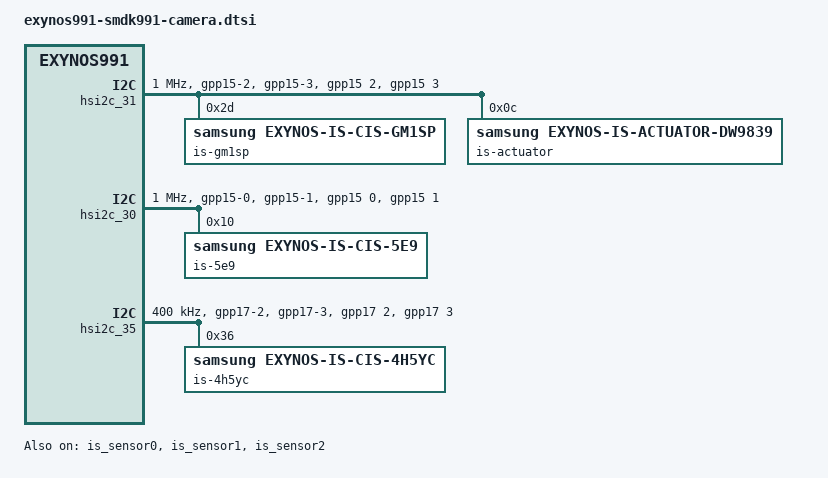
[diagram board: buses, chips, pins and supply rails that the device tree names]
/*
 * Samsung Exynos SoC series Pablo driver
 *
 * Copyright (c) 2020 Samsung Electronics Co., Ltd
 *
 * This program is free software; you can redistribute it and/or modify
 * it under the terms of the GNU General Public License version 2 as
 * published by the Free Software Foundation.
 */

#include <dt-bindings/camera/exynos_is_dt.h>
#include <dt-bindings/interrupt-controller/exynos991.h>
#include <dt-bindings/clock/exynos9840.h>
#include "camera/module_gm1sp.dtsi"
#include "camera/module_5e9.dtsi"
#include "camera/module_4h5yc.dtsi"

/ {
	fragment@camera {
		target-path = "/";
		__overlay__ {
			/* REAR CAMERA */
			is_sensor_gm1sp: is_sensor_gm1sp@43 {
				pinctrl-names = "pin0", "pin1", "pin2", "release";
				pinctrl-0 = <>;
				pinctrl-1 = <&sensor_mclk0_out>;
				pinctrl-2 = <&sensor_mclk0_fn>;
				pinctrl-3 = <>;

				position = <0>; /* Rear:0. Front:1 */
				id = <0>; /* sensor node id */
				mclk_ch = <0>;
				sensor_i2c_ch = <0>; /* I2C 0 */

				status = "okay";

				af {
					product_name = <23>; /* ACTUATOR_NAME_DW9839 */
					i2c_ch = <0>; /* SENSOR_CONTROL_I2C0 */
				};

				power_seq {
					gpio_mclk = <&gpg1 0 0x1>;

					scenario_normal_on {
						/* A start node number should be over the 10 for reserved number 0~9. */
						/* pname = "name"; pin = <act value dealy voltage>; gpio = <gpx# # 0x1>; */
						10 { pname = "MCLK"; pin = <PIN_MCLK 1 0>; };
						20 { pname = "sen_rst low"; pin = <PIN_OUTPUT 0 0>; gpio = <&gpp18 3 0x1>; };
						30 { pname = "S2MPB02_LDO14"; pin = <PIN_REGULATOR 1 0>; };
						40 { pname = "S2MPB02_LDO13"; pin = <PIN_REGULATOR 1 0>; };
						50 { pname = "S2MPB02_LDO7"; pin = <PIN_REGULATOR 1 0>; };
						60 { pname = "S2MPB02_LDO10"; pin = <PIN_REGULATOR 1 0>; };
						61 { pname = "S2MPB02_LDO16"; pin = <PIN_REGULATOR 1 0>; };
						70 { pname = "S2MPB02_BUCK2"; pin = <PIN_REGULATOR 1 0>; };
						80 { pname = "on_i2c"; pin = <PIN_I2C 1 0>; };
						90 { pname = "pin"; pin = <PIN_FUNCTION 2 0>; };
						100 { pname = "sen_rst high"; pin = <PIN_OUTPUT 1 2000>; gpio = <&gpp18 3 0x1>; };
					};

					scenario_normal_off {
						/* A start node number should be over the 10 for reserved number 0~9. */
						/* pname = "name"; pin = <act value dealy voltage>; gpio = <gpx# # 0x1>; */
						10 { pname = "sen_rst"; pin = <PIN_RESET 0 10>; gpio = <&gpp18 3 0x1>; };
						20 { pname = "sen_rst input"; pin = <PIN_INPUT 0 0>; gpio = <&gpp18 3 0x1>; };
						30 { pname = "S2MPB02_LDO14"; pin = <PIN_REGULATOR 0 0>; };
						40 { pname = "S2MPB02_LDO13"; pin = <PIN_REGULATOR 0 0>; };
						50 { pname = "S2MPB02_LDO7"; pin = <PIN_REGULATOR 0 0>; };
						60 { pname = "S2MPB02_LDO10"; pin = <PIN_REGULATOR 0 0>; };
						61 { pname = "S2MPB02_LDO16"; pin = <PIN_REGULATOR 0 0>; };
						70 { pname = "S2MPB02_BUCK2"; pin = <PIN_REGULATOR 0 0>; };
						80 { pname = "off_i2c"; pin = <PIN_I2C 0 0>; };
						90 { pname = "pin"; pin = <PIN_FUNCTION 0 0>; };
						100 { pname = "pin"; pin = <PIN_FUNCTION 1 0>; };
						110 { pname = "pin"; pin = <PIN_FUNCTION 0 0>; };
						120 { pname = "MCLK"; pin = <PIN_MCLK 0 0>; };
					};

					scenario_vision_on {
						sensor_scenario = <SENSOR_SCENARIO_VISION>;
						gpio_scenario = <GPIO_SCENARIO_ON>;

						/* A start node number should be over the 10 for reserved number 0~9. */
						/* pname = "name"; pin = <act value dealy voltage>; gpio = <gpx# # 0x1>; */
						10 { pname = "MCLK"; pin = <PIN_MCLK 1 0>; };
						20 { pname = "sen_rst low"; pin = <PIN_OUTPUT 0 0>; gpio = <&gpp18 3 0x1>; };
						30 { pname = "S2MPB02_LDO14"; pin = <PIN_REGULATOR 1 0>; };
						40 { pname = "S2MPB02_LDO13"; pin = <PIN_REGULATOR 1 0>; };
						50 { pname = "S2MPB02_LDO7"; pin = <PIN_REGULATOR 1 0>; };
						60 { pname = "S2MPB02_LDO10"; pin = <PIN_REGULATOR 1 0>; };
						61 { pname = "S2MPB02_LDO16"; pin = <PIN_REGULATOR 1 0>; };
						70 { pname = "S2MPB02_BUCK2"; pin = <PIN_REGULATOR 1 0>; };
						80 { pname = "on_i2c"; pin = <PIN_I2C 1 0>; };
						90 { pname = "pin"; pin = <PIN_FUNCTION 2 0>; };
						100 { pname = "sen_rst high"; pin = <PIN_OUTPUT 1 2000>; gpio = <&gpp18 3 0x1>; };
					};

					scenario_vision_off {
						sensor_scenario = <SENSOR_SCENARIO_VISION>;
						gpio_scenario = <GPIO_SCENARIO_OFF>;

						/* A start node number should be over the 10 for reserved number 0~9. */
						/* pname = "name"; pin = <act value dealy voltage>; gpio = <gpx# # 0x1>; */
						10 { pname = "sen_rst"; pin = <PIN_RESET 0 10>; gpio = <&gpp18 3 0x1>; };
						20 { pname = "sen_rst input"; pin = <PIN_INPUT 0 0>; gpio = <&gpp18 3 0x1>; };
						30 { pname = "S2MPB02_LDO14"; pin = <PIN_REGULATOR 0 0>; };
						40 { pname = "S2MPB02_LDO13"; pin = <PIN_REGULATOR 0 0>; };
						50 { pname = "S2MPB02_LDO7"; pin = <PIN_REGULATOR 0 0>; };
						60 { pname = "S2MPB02_LDO10"; pin = <PIN_REGULATOR 0 0>; };
						61 { pname = "S2MPB02_LDO16"; pin = <PIN_REGULATOR 0 0>; };
						70 { pname = "S2MPB02_BUCK2"; pin = <PIN_REGULATOR 0 0>; };
						80 { pname = "off_i2c"; pin = <PIN_I2C 0 0>; };
						90 { pname = "pin"; pin = <PIN_FUNCTION 0 0>; };
						100 { pname = "pin"; pin = <PIN_FUNCTION 1 0>; };
						110 { pname = "pin"; pin = <PIN_FUNCTION 0 0>; };
						120 { pname = "MCLK"; pin = <PIN_MCLK 0 0>; };
					};

				};
			};

			/* FRONT CAMERA */
			is_sensor_4h5yc: is_sensor_4h5yc@24 {
				pinctrl-names = "pin0", "pin1", "pin2", "release";
				pinctrl-0 = <>;
				pinctrl-1 = <&sensor_mclk4_out>;
				pinctrl-2 = <&sensor_mclk4_fn>;
				pinctrl-3 = <>;

				position = <1>; /* Rear:0. Front:1 */
				id = <1>; /* sensor node id */
				mclk_ch = <4>;
				sensor_i2c_ch = <1>;
				sensor_i2c_addr = <0x36>;

				status = "okay";

				power_seq {
					gpio_mclk = <&gpg2 1 0x1>;

					scenario_normal_on {
						/* A start node number should be over the 10 for reserved number 0~9. */
						/* pname = "name"; pin = <act value dealy voltage>; gpio = <gpx# # 0x1>; */
						10 { pname = "sen_rst low"; pin = <PIN_OUTPUT 0 0>; gpio = <&gpp9 0 0x1>; };
						20 { pname = "vdd_ldo18s"; pin = <PIN_REGULATOR 1 0>; };
						30 { pname = "vdd_ldo25"; pin = <PIN_REGULATOR 1 0>; };
						40 { pname = "S2MPB02_LDO4"; pin = <PIN_REGULATOR 1 0>; };
						50 { pname = "on_i2c"; pin = <PIN_I2C 1 0>; };
						60 { pname = "pin"; pin = <PIN_FUNCTION 2 0>; };
						70 { pname = "MCLK"; pin = <PIN_MCLK 1 0>; };
						80 { pname = "sen_rst high"; pin = <PIN_OUTPUT 1 0>; gpio = <&gpp9 0 0x1>; };
					};

					scenario_normal_off {
						/* A start node number should be over the 10 for reserved number 0~9. */
						/* pname = "name"; pin = <act value dealy voltage>; gpio = <gpx# # 0x1>; */
						10 { pname = "vdd_ldo18s"; pin = <PIN_REGULATOR 0 0>; };
						20 { pname = "vdd_ldo25"; pin = <PIN_REGULATOR 0 0>; };
						30 { pname = "MCLK"; pin = <PIN_MCLK 0 0>; };
						40 { pname = "pin"; pin = <PIN_FUNCTION 0 0>; };
						50 { pname = "sen_rst"; pin = <PIN_OUTPUT 0 0>; gpio = <&gpp9 0 0x1>; };
						60 { pname = "off_i2c"; pin = <PIN_I2C 0 0>; };
						70 { pname = "S2MPB02_LDO4"; pin = <PIN_REGULATOR 0 0>; };
					};

					scenario_vision_on {
						sensor_scenario = <SENSOR_SCENARIO_VISION>;
						gpio_scenario = <GPIO_SCENARIO_ON>;
						/* A start node number should be over the 10 for reserved number 0~9. */
						/* pname = "name"; pin = <act value dealy voltage>; gpio = <gpx# # 0x1>; */
						10 { pname = "sen_rst low"; pin = <PIN_OUTPUT 0 0>; gpio = <&gpp9 0 0x1>; };
						20 { pname = "vdd_ldo18s"; pin = <PIN_REGULATOR 1 0>; };
						30 { pname = "vdd_ldo25"; pin = <PIN_REGULATOR 1 0>; };
						40 { pname = "S2MPB02_LDO4"; pin = <PIN_REGULATOR 1 0>; };
						50 { pname = "on_i2c"; pin = <PIN_I2C 1 0>; };
						60 { pname = "pin"; pin = <PIN_FUNCTION 2 0>; };
						70 { pname = "MCLK"; pin = <PIN_MCLK 1 0>; };
						80 { pname = "sen_rst high"; pin = <PIN_OUTPUT 1 0>; gpio = <&gpp9 0 0x1>; };
					};

					scenario_vision_off {
						sensor_scenario = <SENSOR_SCENARIO_VISION>;
						gpio_scenario = <GPIO_SCENARIO_OFF>;
						/* A start node number should be over the 10 for reserved number 0~9. */
						/* pname = "name"; pin = <act value dealy voltage>; gpio = <gpx# # 0x1>; */
						10 { pname = "vdd_ldo18s"; pin = <PIN_REGULATOR 0 0>; };
						20 { pname = "vdd_ldo25"; pin = <PIN_REGULATOR 0 0>; };
						30 { pname = "MCLK"; pin = <PIN_MCLK 0 0>; };
						40 { pname = "pin"; pin = <PIN_FUNCTION 0 0>; };
						50 { pname = "sen_rst"; pin = <PIN_OUTPUT 0 0>; gpio = <&gpp9 0 0x1>; };
						60 { pname = "off_i2c"; pin = <PIN_I2C 0 0>; };
						70 { pname = "S2MPB02_LDO4"; pin = <PIN_REGULATOR 0 0>; };
					};

				};

			};

			/* Rear Sub CAMERA */
			is_sensor_5e9: is_sensor_5e9@41 {
				pinctrl-names = "pin0", "pin1", "pin2", "release";
				pinctrl-0 = <>;
				pinctrl-1 = <&sensor_mclk1_out>;
				pinctrl-2 = <&sensor_mclk1_fn>;
				pinctrl-3 = <>;

				/* board */
				position = <2>; /* Rear:0. Front:1, Tele:2 */
				id = <2>; /* fimc_is_sensor id */
				mclk_ch = <1>;
				sensor_i2c_ch = <2>; /* SENSOR_CONTROL_I2C2 */

				af {
					product_name = <100>; /* NOTHING */
				};

				flash {
					product_name = <100>; /* NOTHING */
				};

				preprocessor {
					product_name = <100>; /* NOTHING */
				};

				ois {
					product_name = <100>; /* NOTHING */
				};

				power_seq {
					use = <1>;
					gpio_mclk = <&gpg1 1 0x1>;

					scenario_normal_on {
						sensor_scenario = <SENSOR_SCENARIO_NORMAL>;
						gpio_scenario = <GPIO_SCENARIO_ON>;

						/* A start node number should be over the 10 for reserved number 0~9. */
						/* pname = "name"; pin = <act value dealy voltage>; gpio = <gpx# # 0x1>; */
						10 { pname = "MCLK"; pin = <PIN_MCLK 1 0>; };
						20 { pname = "sen_rst low"; pin = <PIN_OUTPUT 0 0>; gpio = <&gpp8 0 0x1>; };
						30 { pname = "vdd_ldo21s"; pin = <PIN_REGULATOR 1 0>; };
						40 { pname = "vdd_ldo29"; pin = <PIN_REGULATOR 1 0>; };
						50 { pname = "S2MPB02_LDO3"; pin = <PIN_REGULATOR 1 0>; };
						60 { pname = "pin"; pin = <PIN_FUNCTION 2 1000>; };
						70 { pname = "sen_rst high"; pin = <PIN_OUTPUT 1 1000>; gpio = <&gpp8 0 0x1>; };
						80 { pname = "on_i2c"; pin = <PIN_I2C 1 0>; };
					};

					scenario_normal_off {
						sensor_scenario = <SENSOR_SCENARIO_NORMAL>;
						gpio_scenario = <GPIO_SCENARIO_OFF>;

						/* A start node number should be over the 10 for reserved number 0~9. */
						/* pname = "name"; pin = <act value dealy voltage>; gpio = <gpx# # 0x1>; */
						10 { pname = "pin"; pin = <PIN_FUNCTION 0 0>; };
						20 { pname = "pin"; pin = <PIN_FUNCTION 1 0>; };
						30 { pname = "pin"; pin = <PIN_FUNCTION 0 0>; };
						40 { pname = "vdd_ldo21s"; pin = <PIN_REGULATOR 0 0>; };
						50 { pname = "S2MPB02_LDO3"; pin = <PIN_REGULATOR 0 0>; };
						60 { pname = "vdd_ldo29"; pin = <PIN_REGULATOR 0 0>; };
						70 { pname = "sen_rst"; pin = <PIN_OUTPUT 0 0>; gpio = <&gpp8 0 0x1>; };
						80 { pname = "MCLK"; pin = <PIN_MCLK 0 0>; };
						90 { pname = "off_i2c"; pin = <PIN_I2C 0 0>; };
					};

					scenario_vision_on {
						sensor_scenario = <SENSOR_SCENARIO_VISION>;
						gpio_scenario = <GPIO_SCENARIO_ON>;

						/* A start node number should be over the 10 for reserved number 0~9. */
						/* pname = "name"; pin = <act value dealy voltage>; gpio = <gpx# # 0x1>; */
						10 { pname = "MCLK"; pin = <PIN_MCLK 1 0>; };
						20 { pname = "sen_rst low"; pin = <PIN_OUTPUT 0 0>; gpio = <&gpp8 0 0x1>; };
						30 { pname = "vdd_ldo21s"; pin = <PIN_REGULATOR 1 0>; };
						40 { pname = "vdd_ldo29"; pin = <PIN_REGULATOR 1 0>; };
						50 { pname = "S2MPB02_LDO3"; pin = <PIN_REGULATOR 1 0>; };
						60 { pname = "pin"; pin = <PIN_FUNCTION 2 1000>; };
						70 { pname = "sen_rst high"; pin = <PIN_OUTPUT 1 1000>; gpio = <&gpp8 0 0x1>; };
						80 { pname = "on_i2c"; pin = <PIN_I2C 1 0>; };
					};

					scenario_vision_off {
						sensor_scenario = <SENSOR_SCENARIO_VISION>;
						gpio_scenario = <GPIO_SCENARIO_OFF>;

						/* A start node number should be over the 10 for reserved number 0~9. */
						/* pname = "name"; pin = <act value dealy voltage>; gpio = <gpx# # 0x1>; */
						10 { pname = "pin"; pin = <PIN_FUNCTION 0 0>; };
						20 { pname = "pin"; pin = <PIN_FUNCTION 1 0>; };
						30 { pname = "pin"; pin = <PIN_FUNCTION 0 0>; };
						40 { pname = "vdd_ldo21s"; pin = <PIN_REGULATOR 0 0>; };
						50 { pname = "S2MPB02_LDO3"; pin = <PIN_REGULATOR 0 0>; };
						60 { pname = "vdd_ldo29"; pin = <PIN_REGULATOR 0 0>; };
						70 { pname = "sen_rst"; pin = <PIN_OUTPUT 0 0>; gpio = <&gpp8 0 0x1>; };
						80 { pname = "MCLK"; pin = <PIN_MCLK 0 0>; };
						90 { pname = "off_i2c"; pin = <PIN_I2C 0 0>; };
					};
				};
			};

		}; /* end of __overlay__ */
	}; /* end of fragment */
}; /* end of root */

/***** reference symbol node *****/

&exynos_is {
	vender {
		rear_sensor_id = <43>; /* GM1SP */
		front_sensor_id = <24>; /* 4H5YC */
		rear2_sensor_id = <41>; /* 5E9 */
	};

	lic_offsets {
		/* 3AA = <setA lic offset0, setA lic offset1, lic offset2 set A trigger context */
		/* 	setB lic offset0, setB lic offset1, setB lic offset2, set B trigger context> */
		3AA = <5461 10922 16383 0 5461 10922 16383 0>;
	};

	is_dvfs {
		#define DVFS_INT_CAM_L0 690000
		#define DVFS_INT_CAM_L1 680000
		#define DVFS_INT_CAM_L2 670000
		#define DVFS_INT_CAM_L3 660000
		#define DVFS_INT_CAM_L4 650000
		#define DVFS_INT_CAM_L5 640000
		#define DVFS_INT_CAM_L6 630000
		#define DVFS_INT_CAM_L7 620000

		#define DVFS_INT_L0 800000
		#define DVFS_INT_L1 533000
		#define DVFS_INT_L2 400000
		#define DVFS_INT_L3 267000
		#define DVFS_INT_L4 80000

		#define DVFS_CSIS_L0 690000
		#define DVFS_CSIS_L1 680000
		#define DVFS_CSIS_L2 670000
		#define DVFS_CSIS_L3 660000
		#define DVFS_CSIS_L4 650000
		#define DVFS_CSIS_L5 640000

		#define DVFS_CAM_L0 690000
		#define DVFS_CAM_L1 680000
		#define DVFS_CAM_L2 670000
		#define DVFS_CAM_L3 660000
		#define DVFS_CAM_L4 650000
		#define DVFS_CAM_L5 640000

		#define DVFS_MIF_L0 3172000
		#define DVFS_MIF_L1 2730000
		#define DVFS_MIF_L2 2535000
		#define DVFS_MIF_L3 2288000
		#define DVFS_MIF_L4 2028000
		#define DVFS_MIF_L5 1716000
		#define DVFS_MIF_L6 1539000
		#define DVFS_MIF_L7 1352000
		#define DVFS_MIF_L8 1014000
		#define DVFS_MIF_L9 845000
		#define DVFS_MIF_L10 546000
		#define DVFS_MIF_L11 421000

		table0 {
			desc = "dvfs table v0.0.0 v0.54";

			default_int_cam = <DVFS_INT_CAM_L0>;
			default_cam = <DVFS_CAM_L0>;
			default_csis = <DVFS_CSIS_L0>;
			default_mif = <DVFS_MIF_L0>;
			default_int = <DVFS_INT_L0>;
			default_hpg = <1>;

			front2_preview_int_cam = <DVFS_INT_CAM_L5>;
			front2_preview_cam = <DVFS_CAM_L2>;
			front2_preview_csis = <DVFS_CSIS_L2>;
			front2_preview_mif = <DVFS_MIF_L6>;
			front2_preview_int = <DVFS_INT_L3>;
			front2_preview_hpg = <1>;

			front2_capture_int_cam = <DVFS_INT_CAM_L3>;
			front2_capture_cam = <DVFS_CAM_L2>;
			front2_capture_csis = <DVFS_CSIS_L2>;
			front2_capture_mif = <DVFS_MIF_L1>;
			front2_capture_int = <DVFS_INT_L0>;
			front2_capture_hpg = <1>;

			front2_video_int_cam = <DVFS_INT_CAM_L5>;
			front2_video_cam = <DVFS_CAM_L5>;
			front2_video_csis = <DVFS_CSIS_L5>;
			front2_video_mif = <DVFS_MIF_L6>;
			front2_video_int = <DVFS_INT_L3>;
			front2_video_hpg = <1>;

			front2_video_capture_int_cam = <DVFS_INT_CAM_L3>;
			front2_video_capture_cam = <DVFS_CAM_L2>;
			front2_video_capture_csis = <DVFS_CSIS_L2>;
			front2_video_capture_mif = <DVFS_MIF_L1>;
			front2_video_capture_int = <DVFS_INT_L0>;
			front2_video_capture_hpg = <1>;

			front_preview_int_cam = <DVFS_INT_CAM_L5>;
			front_preview_cam = <DVFS_CAM_L2>;
			front_preview_csis = <DVFS_CSIS_L2>;
			front_preview_mif = <DVFS_MIF_L6>;
			front_preview_int = <DVFS_INT_L3>;
			front_preview_hpg = <1>;

			front_preview_full_int_cam = <DVFS_INT_CAM_L5>;
			front_preview_full_cam = <DVFS_CAM_L2>;
			front_preview_full_csis = <DVFS_CSIS_L2>;
			front_preview_full_mif = <DVFS_MIF_L6>;
			front_preview_full_int = <DVFS_INT_L3>;
			front_preview_full_hpg = <1>;

			front_capture_int_cam = <DVFS_INT_CAM_L3>;
			front_capture_cam = <DVFS_CAM_L2>;
			front_capture_csis = <DVFS_CSIS_L2>;
			front_capture_mif = <DVFS_MIF_L1>;
			front_capture_int = <DVFS_INT_L0>;
			front_capture_hpg = <1>;

			front_video_int_cam = <DVFS_INT_CAM_L5>;
			front_video_cam = <DVFS_CAM_L2>;
			front_video_csis = <DVFS_CSIS_L2>;
			front_video_mif = <DVFS_MIF_L6>;
			front_video_int = <DVFS_INT_L3>;
			front_video_hpg = <1>;

			front_video_whd_int_cam = <DVFS_INT_CAM_L5>;
			front_video_whd_cam = <DVFS_CAM_L2>;
			front_video_whd_csis = <DVFS_CSIS_L2>;
			front_video_whd_mif = <DVFS_MIF_L6>;
			front_video_whd_int = <DVFS_INT_L3>;
			front_video_whd_hpg = <1>;

			front_video_uhd_int_cam = <DVFS_INT_CAM_L5>;
			front_video_uhd_cam = <DVFS_CAM_L2>;
			front_video_uhd_csis = <DVFS_CSIS_L2>;
			front_video_uhd_mif = <DVFS_MIF_L6>;
			front_video_uhd_int = <DVFS_INT_L3>;
			front_video_uhd_hpg = <1>;

			front_video_fhd_60fps_int_cam = <DVFS_INT_CAM_L5>;
			front_video_fhd_60fps_cam = <DVFS_CAM_L2>;
			front_video_fhd_60fps_csis = <DVFS_CSIS_L2>;
			front_video_fhd_60fps_mif = <DVFS_MIF_L6>;
			front_video_fhd_60fps_int = <DVFS_INT_L3>;
			front_video_fhd_60fps_hpg = <1>;

			front_video_uhd_60fps_int_cam = <DVFS_INT_CAM_L5>;
			front_video_uhd_60fps_cam = <DVFS_CAM_L2>;
			front_video_uhd_60fps_csis = <DVFS_CSIS_L2>;
			front_video_uhd_60fps_mif = <DVFS_MIF_L4>;
			front_video_uhd_60fps_int = <DVFS_INT_L3>;
			front_video_uhd_60fps_hpg = <1>;

			front_video_capture_int_cam = <DVFS_INT_CAM_L3>;
			front_video_capture_cam = <DVFS_CAM_L2>;
			front_video_capture_csis = <DVFS_CSIS_L2>;
			front_video_capture_mif = <DVFS_MIF_L1>;
			front_video_capture_int = <DVFS_INT_L0>;
			front_video_capture_hpg = <1>;

			front_video_whd_capture_int_cam = <DVFS_INT_CAM_L3>;
			front_video_whd_capture_cam = <DVFS_CAM_L2>;
			front_video_whd_capture_csis = <DVFS_CSIS_L2>;
			front_video_whd_capture_mif = <DVFS_MIF_L1>;
			front_video_whd_capture_int = <DVFS_INT_L0>;
			front_video_whd_capture_hpg = <1>;

			front_video_uhd_capture_int_cam = <DVFS_INT_CAM_L3>;
			front_video_uhd_capture_cam = <DVFS_CAM_L2>;
			front_video_uhd_capture_csis = <DVFS_CSIS_L2>;
			front_video_uhd_capture_mif = <DVFS_MIF_L1>;
			front_video_uhd_capture_int = <DVFS_INT_L0>;
			front_video_uhd_capture_hpg = <1>;

			front_video_uhd_60fps_capture_int_cam = <DVFS_INT_CAM_L3>;
			front_video_uhd_60fps_capture_cam = <DVFS_CAM_L2>;
			front_video_uhd_60fps_capture_csis = <DVFS_CSIS_L2>;
			front_video_uhd_60fps_capture_mif = <DVFS_MIF_L1>;
			front_video_uhd_60fps_capture_int = <DVFS_INT_L0>;
			front_video_uhd_60fps_capture_hpg = <1>;

			front_video_fhd_60fps_capture_int_cam = <DVFS_INT_CAM_L3>;
			front_video_fhd_60fps_capture_cam = <DVFS_CAM_L2>;
			front_video_fhd_60fps_capture_csis = <DVFS_CSIS_L2>;
			front_video_fhd_60fps_capture_mif = <DVFS_MIF_L1>;
			front_video_fhd_60fps_capture_int = <DVFS_INT_L0>;
			front_video_fhd_60fps_capture_hpg = <1>;

			front_dual_sync_preview_int_cam = <DVFS_INT_CAM_L5>;
			front_dual_sync_preview_cam = <DVFS_CAM_L2>;
			front_dual_sync_preview_csis = <DVFS_CSIS_L2>;
			front_dual_sync_preview_mif = <DVFS_MIF_L6>;
			front_dual_sync_preview_int = <DVFS_INT_L3>;
			front_dual_sync_preview_hpg = <1>;

			front_dual_sync_capture_int_cam = <DVFS_INT_CAM_L3>;
			front_dual_sync_capture_cam = <DVFS_CAM_L2>;
			front_dual_sync_capture_csis = <DVFS_CSIS_L2>;
			front_dual_sync_capture_mif = <DVFS_MIF_L1>;
			front_dual_sync_capture_int = <DVFS_INT_L0>;
			front_dual_sync_capture_hpg = <1>;

			front_dual_sync_video_fhd_int_cam = <DVFS_INT_CAM_L5>;
			front_dual_sync_video_fhd_cam = <DVFS_CAM_L2>;
			front_dual_sync_video_fhd_csis = <DVFS_CSIS_L2>;
			front_dual_sync_video_fhd_mif = <DVFS_MIF_L6>;
			front_dual_sync_video_fhd_int = <DVFS_INT_L3>;
			front_dual_sync_video_fhd_hpg = <1>;

			front_dual_sync_video_fhd_capture_int_cam = <DVFS_INT_CAM_L3>;
			front_dual_sync_video_fhd_capture_cam = <DVFS_CAM_L2>;
			front_dual_sync_video_fhd_capture_csis = <DVFS_CSIS_L2>;
			front_dual_sync_video_fhd_capture_mif = <DVFS_MIF_L1>;
			front_dual_sync_video_fhd_capture_int = <DVFS_INT_L0>;
			front_dual_sync_video_fhd_capture_hpg = <1>;

			front_vt1_int_cam = <DVFS_INT_CAM_L5>;
			front_vt1_cam = <DVFS_CAM_L2>;
			front_vt1_csis = <DVFS_CSIS_L2>;
			front_vt1_mif = <DVFS_MIF_L6>;
			front_vt1_int = <DVFS_INT_L3>;
			front_vt1_hpg = <1>;

			front_vt2_int_cam = <DVFS_INT_CAM_L5>;
			front_vt2_cam = <DVFS_CAM_L2>;
			front_vt2_csis = <DVFS_CSIS_L2>;
			front_vt2_mif = <DVFS_MIF_L6>;
			front_vt2_int = <DVFS_INT_L3>;
			front_vt2_hpg = <1>;

			front_vt4_int_cam = <DVFS_INT_CAM_L5>;
			front_vt4_cam = <DVFS_CAM_L2>;
			front_vt4_csis = <DVFS_CSIS_L2>;
			front_vt4_mif = <DVFS_MIF_L6>;
			front_vt4_int = <DVFS_INT_L3>;
			front_vt4_hpg = <1>;

			front_preview_high_speed_fps_int_cam = <DVFS_INT_CAM_L5>;
			front_preview_high_speed_fps_cam = <DVFS_CAM_L2>;
			front_preview_high_speed_fps_csis = <DVFS_CSIS_L2>;
			front_preview_high_speed_fps_mif = <DVFS_MIF_L4>;
			front_preview_high_speed_fps_int = <DVFS_INT_L3>;
			front_preview_high_speed_fps_hpg = <1>;

			rear3_preview_fhd_int_cam = <DVFS_INT_CAM_L5>;
			rear3_preview_fhd_cam = <DVFS_CAM_L3>;	/* OTF */
			rear3_preview_fhd_csis = <DVFS_CSIS_L3>;	/* OTF */
			rear3_preview_fhd_mif = <DVFS_MIF_L6>;
			rear3_preview_fhd_int = <DVFS_INT_L3>;
			rear3_preview_fhd_hpg = <1>;

			rear3_capture_int_cam = <DVFS_INT_CAM_L3>;
			rear3_capture_cam = <DVFS_CAM_L3>;		/* OTF */
			rear3_capture_csis = <DVFS_CSIS_L3>;		/* OTF */
			rear3_capture_mif = <DVFS_MIF_L1>;
			rear3_capture_int = <DVFS_INT_L3>;
			rear3_capture_hpg = <1>;

			rear3_video_fhd_int_cam = <DVFS_INT_CAM_L5>;
			rear3_video_fhd_cam = <DVFS_CAM_L4>;	/* OTF */
			rear3_video_fhd_csis = <DVFS_CSIS_L4>;	/* OTF */
			rear3_video_fhd_mif = <DVFS_MIF_L6>;
			rear3_video_fhd_int = <DVFS_INT_L3>;
			rear3_video_fhd_hpg = <1>;

			rear3_video_fhd_capture_int_cam = <DVFS_INT_CAM_L3>;
			rear3_video_fhd_capture_cam = <DVFS_CAM_L3>;	/* OTF */
			rear3_video_fhd_capture_mif = <DVFS_MIF_L1>;
			rear3_video_fhd_capture_int = <DVFS_INT_L3>;
			rear3_video_fhd_capture_hpg = <1>;

			rear2_preview_fhd_int_cam = <DVFS_INT_CAM_L3>;
			rear2_preview_fhd_cam = <DVFS_CAM_L3>;	/* VOTF */
			rear2_preview_fhd_csis = <DVFS_CSIS_L3>;	/* VOTF */
			rear2_preview_fhd_mif = <DVFS_MIF_L6>;
			rear2_preview_fhd_int = <DVFS_INT_L3>;
			rear2_preview_fhd_hpg = <1>;

			rear2_capture_int_cam = <DVFS_INT_CAM_L3>;
			rear2_capture_cam = <DVFS_CAM_L3>;	/* VOTF */
			rear2_capture_csis = <DVFS_CSIS_L3>;	/* VOTF */
			rear2_capture_mif = <DVFS_MIF_L1>;
			rear2_capture_int = <DVFS_INT_L0>;
			rear2_capture_hpg = <1>;

			rear2_video_fhd_int_cam = <DVFS_INT_CAM_L5>;
			rear2_video_fhd_cam = <DVFS_CAM_L5>;	/* VOTF */
			rear2_video_fhd_csis = <DVFS_CSIS_L5>;	/* VOTF */
			rear2_video_fhd_mif = <DVFS_MIF_L6>;
			rear2_video_fhd_int = <DVFS_INT_L3>;
			rear2_video_fhd_hpg = <1>;

			rear2_video_uhd_8k_int_cam = <DVFS_INT_CAM_L4>;
			rear2_video_uhd_8k_cam = <DVFS_CAM_L1>;	/* OTF */
			rear2_video_uhd_8k_csis = <DVFS_CSIS_L1>;	/* OTF */
			rear2_video_uhd_8k_mif = <DVFS_MIF_L1>;
			rear2_video_uhd_8k_int = <DVFS_INT_L1>;
			rear2_video_uhd_8k_hpg = <1>;

			rear2_video_fhd_capture_int_cam = <DVFS_INT_CAM_L3>;
			rear2_video_fhd_capture_cam = <DVFS_CAM_L3>;	/* VOTF */
			rear2_video_fhd_capture_csis = <DVFS_CSIS_L3>;	/* VOTF */
			rear2_video_fhd_capture_mif = <DVFS_MIF_L1>;
			rear2_video_fhd_capture_int = <DVFS_INT_L0>;
			rear2_video_fhd_capture_hpg = <1>;

			rear2_video_uhd_8k_capture_int_cam = <DVFS_INT_CAM_L3>;
			rear2_video_uhd_8k_capture_cam = <DVFS_CAM_L1>;	/* OTF */
			rear2_video_uhd_8k_capture_csis = <DVFS_CSIS_L1>;	/* OTF */
			rear2_video_uhd_8k_capture_mif = <DVFS_MIF_L1>;
			rear2_video_uhd_8k_capture_int = <DVFS_INT_L0>;
			rear2_video_uhd_8k_capture_hpg = <1>;

			rear_preview_fhd_int_cam = <DVFS_INT_CAM_L5>;
			rear_preview_fhd_cam = <DVFS_CAM_L2>;	/* VOTF */
			rear_preview_fhd_csis = <DVFS_CSIS_L2>;	/* VOTF */
			rear_preview_fhd_mif = <DVFS_MIF_L6>;
			rear_preview_fhd_int = <DVFS_INT_L3>;
			rear_preview_fhd_hpg = <1>;

			rear_preview_whd_int_cam = <DVFS_INT_CAM_L5>;
			rear_preview_whd_cam = <DVFS_CAM_L2>;	/* VOTF */
			rear_preview_whd_csis = <DVFS_CSIS_L2>;	/* VOTF */
			rear_preview_whd_mif = <DVFS_MIF_L6>;
			rear_preview_whd_int = <DVFS_INT_L3>;
			rear_preview_whd_hpg = <1>;

			rear_preview_uhd_int_cam = <DVFS_INT_CAM_L5>;
			rear_preview_uhd_cam = <DVFS_CAM_L2>;	/* VOTF */
			rear_preview_uhd_csis = <DVFS_CSIS_L2>;	/* VOTF */
			rear_preview_uhd_mif = <DVFS_MIF_L6>;
			rear_preview_uhd_int = <DVFS_INT_L3>;
			rear_preview_uhd_hpg = <1>;

			rear_preview_uhd_60fps_int_cam = <DVFS_INT_CAM_L5>;
			rear_preview_uhd_60fps_cam = <DVFS_CAM_L2>;	/* VOTF */
			rear_preview_uhd_60fps_csis = <DVFS_CSIS_L2>;	/* VOTF */
			rear_preview_uhd_60fps_mif = <DVFS_MIF_L6>;
			rear_preview_uhd_60fps_int = <DVFS_INT_L3>;
			rear_preview_uhd_60fps_hpg = <1>;

			rear_preview_full_int_cam = <DVFS_INT_CAM_L5>;
			rear_preview_full_cam = <DVFS_CAM_L2>;	/* VOTF */
			rear_preview_full_csis = <DVFS_CSIS_L2>;	/* VOTF */
			rear_preview_full_mif = <DVFS_MIF_L6>;
			rear_preview_full_int = <DVFS_INT_L3>;
			rear_preview_full_hpg = <1>;

			rear_capture_int_cam = <DVFS_INT_CAM_L3>;
			rear_capture_cam = <DVFS_CAM_L2>;	/* VOTF */
			rear_capture_csis = <DVFS_CSIS_L2>;	/* VOTF */
			rear_capture_mif = <DVFS_MIF_L1>;
			rear_capture_int = <DVFS_INT_L0>;
			rear_capture_hpg = <1>;

			rear_video_fhd_int_cam = <DVFS_INT_CAM_L5>;
			rear_video_fhd_cam = <DVFS_CAM_L2>;	/* VOTF */
			rear_video_fhd_csis = <DVFS_CSIS_L2>;	/* VOTF */
			rear_video_fhd_mif = <DVFS_MIF_L8>;
			rear_video_fhd_int = <DVFS_INT_L3>;
			rear_video_fhd_hpg = <1>;

			rear_video_hdr_int_cam = <DVFS_INT_CAM_L5>;
			rear_video_hdr_cam = <DVFS_CAM_L2>;	/* VOTF */
			rear_video_hdr_csis = <DVFS_CSIS_L2>;	/* VOTF */
			rear_video_hdr_mif = <DVFS_MIF_L6>;
			rear_video_hdr_int = <DVFS_INT_L3>;
			rear_video_hdr_hpg = <1>;

			rear_video_whd_int_cam = <DVFS_INT_CAM_L5>;
			rear_video_whd_cam = <DVFS_CAM_L2>;	/* VOTF */
			rear_video_whd_csis = <DVFS_CSIS_L2>;	/* VOTF */
			rear_video_whd_mif = <DVFS_MIF_L6>;
			rear_video_whd_int = <DVFS_INT_L3>;
			rear_video_whd_hpg = <1>;

			rear_video_uhd_int_cam = <DVFS_INT_CAM_L5>;
			rear_video_uhd_cam = <DVFS_CAM_L2>;	/* VOTF */
			rear_video_uhd_csis = <DVFS_CSIS_L2>;	/* VOTF */
			rear_video_uhd_mif = <DVFS_MIF_L6>;
			rear_video_uhd_int = <DVFS_INT_L3>;
			rear_video_uhd_hpg = <1>;

			rear_video_uhd_60fps_int_cam = <DVFS_INT_CAM_L5>;
			rear_video_uhd_60fps_cam = <DVFS_CAM_L2>;	/* VOTF */
			rear_video_uhd_60fps_csis = <DVFS_CSIS_L2>;	/* VOTF */
			rear_video_uhd_60fps_mif = <DVFS_MIF_L4>;
			rear_video_uhd_60fps_int = <DVFS_INT_L3>;
			rear_video_uhd_60fps_hpg = <1>;

			rear_video_uhd_8k_int_cam = <DVFS_INT_CAM_L4>;
			rear_video_uhd_8k_cam = <DVFS_CAM_L1>;	/* OTF */
			rear_video_uhd_8k_csis = <DVFS_CSIS_L1>;	/* OTF */
			rear_video_uhd_8k_mif = <DVFS_MIF_L1>;
			rear_video_uhd_8k_int = <DVFS_INT_L1>;
			rear_video_uhd_8k_hpg = <1>;

			rear_video_fhd_capture_int_cam = <DVFS_INT_CAM_L3>;
			rear_video_fhd_capture_cam = <DVFS_CAM_L2>;	/* VOTF */
			rear_video_fhd_capture_csis = <DVFS_CSIS_L2>;	/* VOTF */
			rear_video_fhd_capture_mif = <DVFS_MIF_L1>;
			rear_video_fhd_capture_int = <DVFS_INT_L0>;
			rear_video_fhd_capture_hpg = <1>;

			rear_video_hdr_capture_int_cam = <DVFS_INT_CAM_L3>;
			rear_video_hdr_capture_cam = <DVFS_CAM_L2>;	/* VOTF */
			rear_video_hdr_capture_csis = <DVFS_CSIS_L2>;	/* VOTF */
			rear_video_hdr_capture_mif = <DVFS_MIF_L1>;
			rear_video_hdr_capture_int = <DVFS_INT_L0>;
			rear_video_hdr_capture_hpg = <1>;

			rear_video_whd_capture_int_cam = <DVFS_INT_CAM_L3>;
			rear_video_whd_capture_cam = <DVFS_CAM_L2>;	/* VOTF */
			rear_video_whd_capture_csis = <DVFS_CSIS_L2>;	/* VOTF */
			rear_video_whd_capture_mif = <DVFS_MIF_L1>;
			rear_video_whd_capture_int = <DVFS_INT_L0>;
			rear_video_whd_capture_hpg = <1>;

			rear_video_uhd_capture_int_cam = <DVFS_INT_CAM_L3>;
			rear_video_uhd_capture_cam = <DVFS_CAM_L2>;	/* VOTF */
			rear_video_uhd_capture_csis = <DVFS_CSIS_L2>;	/* VOTF */
			rear_video_uhd_capture_mif = <DVFS_MIF_L1>;
			rear_video_uhd_capture_int = <DVFS_INT_L0>;
			rear_video_uhd_capture_hpg = <1>;

			rear_video_uhd_8k_capture_int_cam = <DVFS_INT_CAM_L3>;
			rear_video_uhd_8k_capture_cam = <DVFS_CAM_L2>;	/* VOTF */
			rear_video_uhd_8k_capture_csis = <DVFS_CSIS_L2>;	/* VOTF */
			rear_video_uhd_8k_capture_mif = <DVFS_MIF_L1>;
			rear_video_uhd_8k_capture_int = <DVFS_INT_L0>;
			rear_video_uhd_8k_capture_hpg = <1>;

			dual_preview_int_cam = <DVFS_INT_CAM_L3>;
			dual_preview_cam = <DVFS_CAM_L2>;	/* VOTF */
			dual_preview_csis = <DVFS_CSIS_L2>;	/* VOTF */
			dual_preview_mif = <DVFS_MIF_L1>;
			dual_preview_int = <DVFS_INT_L3>;
			dual_preview_hpg = <1>;

			dual_capture_int_cam = <DVFS_INT_CAM_L3>;
			dual_capture_cam = <DVFS_CAM_L2>;	/* VOTF */
			dual_capture_csis = <DVFS_CSIS_L2>;	/* VOTF */
			dual_capture_mif = <DVFS_MIF_L1>;
			dual_capture_int = <DVFS_INT_L0>;
			dual_capture_hpg = <1>;

			dual_video_fhd_int_cam = <DVFS_INT_CAM_L4>;
			dual_video_fhd_cam = <DVFS_CAM_L2>;	/* VOTF */
			dual_video_fhd_csis = <DVFS_CSIS_L2>;	/* VOTF */
			dual_video_fhd_mif = <DVFS_MIF_L6>;
			dual_video_fhd_int = <DVFS_INT_L3>;
			dual_video_fhd_hpg = <1>;

			dual_video_fhd_capture_int_cam = <DVFS_INT_CAM_L3>;
			dual_video_fhd_capture_cam = <DVFS_CAM_L2>;	/* VOTF */
			dual_video_fhd_capture_csis = <DVFS_CSIS_L2>;	/* VOTF */
			dual_video_fhd_capture_mif = <DVFS_MIF_L1>;
			dual_video_fhd_capture_int = <DVFS_INT_L0>;
			dual_video_fhd_capture_hpg = <1>;

			dual_video_uhd_int_cam = <DVFS_INT_CAM_L4>;
			dual_video_uhd_cam = <DVFS_CAM_L2>;	/* VOTF */
			dual_video_uhd_csis = <DVFS_CSIS_L2>;	/* VOTF */
			dual_video_uhd_mif = <DVFS_MIF_L6>;
			dual_video_uhd_int = <DVFS_INT_L3>;
			dual_video_uhd_hpg = <1>;

			dual_video_uhd_capture_int_cam = <DVFS_INT_CAM_L3>;
			dual_video_uhd_capture_cam = <DVFS_CAM_L2>;	/* VOTF */
			dual_video_uhd_capture_csis = <DVFS_CSIS_L2>;	/* VOTF */
			dual_video_uhd_capture_mif = <DVFS_MIF_L1>;
			dual_video_uhd_capture_int = <DVFS_INT_L0>;
			dual_video_uhd_capture_hpg = <1>;

			dual_sync_preview_int_cam = <DVFS_INT_CAM_L3>;
			dual_sync_preview_cam = <DVFS_CAM_L2>;	/* VOTF */
			dual_sync_preview_csis = <DVFS_CSIS_L2>;	/* VOTF */
			dual_sync_preview_mif = <DVFS_MIF_L1>;
			dual_sync_preview_int = <DVFS_INT_L3>;
			dual_sync_preview_hpg = <1>;

			dual_sync_capture_int_cam = <DVFS_INT_CAM_L3>;
			dual_sync_capture_cam = <DVFS_CAM_L2>;	/* VOTF */
			dual_sync_capture_csis = <DVFS_CSIS_L2>;	/* VOTF */
			dual_sync_capture_mif = <DVFS_MIF_L1>;
			dual_sync_capture_int = <DVFS_INT_L0>;
			dual_sync_capture_hpg = <1>;

			dual_sync_preview_whd_int_cam = <DVFS_INT_CAM_L3>;
			dual_sync_preview_whd_cam = <DVFS_CAM_L2>;	/* VOTF */
			dual_sync_preview_whd_csis = <DVFS_CSIS_L2>;	/* VOTF */
			dual_sync_preview_whd_mif = <DVFS_MIF_L1>;
			dual_sync_preview_whd_int = <DVFS_INT_L3>;
			dual_sync_preview_whd_hpg = <1>;

			dual_sync_whd_capture_int_cam = <DVFS_INT_CAM_L3>;
			dual_sync_whd_capture_cam = <DVFS_CAM_L2>;	/* VOTF */
			dual_sync_whd_capture_csis = <DVFS_CSIS_L2>;	/* VOTF */
			dual_sync_whd_capture_mif = <DVFS_MIF_L1>;
			dual_sync_whd_capture_int = <DVFS_INT_L0>;
			dual_sync_whd_capture_hpg = <1>;

			dual_sync_video_fhd_int_cam = <DVFS_INT_CAM_L4>;
			dual_sync_video_fhd_cam = <DVFS_CAM_L2>;	/* VOTF */
			dual_sync_video_fhd_csis = <DVFS_CSIS_L2>;	/* VOTF */
			dual_sync_video_fhd_mif = <DVFS_MIF_L6>;
			dual_sync_video_fhd_int = <DVFS_INT_L3>;
			dual_sync_video_fhd_hpg = <1>;

			dual_sync_video_fhd_capture_int_cam = <DVFS_INT_CAM_L3>;
			dual_sync_video_fhd_capture_cam = <DVFS_CAM_L2>;	/* VOTF */
			dual_sync_video_fhd_capture_csis = <DVFS_CSIS_L2>;	/* VOTF */
			dual_sync_video_fhd_capture_mif = <DVFS_MIF_L1>;
			dual_sync_video_fhd_capture_int = <DVFS_INT_L0>;
			dual_sync_video_fhd_capture_hpg = <1>;

			dual_sync_video_uhd_int_cam = <DVFS_INT_CAM_L4>;
			dual_sync_video_uhd_cam = <DVFS_CAM_L2>;	/* VOTF */
			dual_sync_video_uhd_csis = <DVFS_CSIS_L2>;	/* VOTF */
			dual_sync_video_uhd_mif = <DVFS_MIF_L6>;
			dual_sync_video_uhd_int = <DVFS_INT_L3>;
			dual_sync_video_uhd_hpg = <1>;

			dual_sync_video_uhd_capture_int_cam = <DVFS_INT_CAM_L3>;
			dual_sync_video_uhd_capture_cam = <DVFS_CAM_L2>;	/* VOTF */
			dual_sync_video_uhd_capture_csis = <DVFS_CSIS_L2>;	/* OTF */
			dual_sync_video_uhd_capture_mif = <DVFS_MIF_L1>;
			dual_sync_video_uhd_capture_int = <DVFS_INT_L0>;
			dual_sync_video_uhd_capture_hpg = <1>;

			secure_front_int_cam = <DVFS_INT_CAM_L5>;
			secure_front_cam = <DVFS_CAM_L5>;
			secure_front_csis = <DVFS_CSIS_L5>;
			secure_front_mif = <DVFS_MIF_L6>;
			secure_front_int = <DVFS_INT_L3>;
			secure_front_hpg = <1>;

			pip_preview_int_cam = <DVFS_INT_CAM_L3>;
			pip_preview_cam = <DVFS_CAM_L2>;
			pip_preview_csis = <DVFS_CSIS_L2>;
			pip_preview_mif = <DVFS_MIF_L1>;
			pip_preview_int = <DVFS_INT_L3>;
			pip_preview_hpg = <1>;

			pip_capture_int_cam = <DVFS_INT_CAM_L3>;
			pip_capture_cam = <DVFS_CAM_L2>;
			pip_capture_csis = <DVFS_CSIS_L2>;
			pip_capture_mif = <DVFS_MIF_L1>;
			pip_capture_int = <DVFS_INT_L0>;
			pip_capture_hpg = <1>;

			pip_video_int_cam = <DVFS_INT_CAM_L3>;
			pip_video_cam = <DVFS_CAM_L2>;
			pip_video_csis = <DVFS_CSIS_L2>;
			pip_video_mif = <DVFS_MIF_L1>;
			pip_video_int = <DVFS_INT_L3>;
			pip_video_hpg = <1>;

			pip_video_capture_int_cam = <DVFS_INT_CAM_L3>;
			pip_video_capture_cam = <DVFS_CAM_L2>;
			pip_video_capture_csis = <DVFS_CSIS_L2>;
			pip_video_capture_mif = <DVFS_MIF_L1>;
			pip_video_capture_int = <DVFS_INT_L0>;
			pip_video_capture_hpg = <1>;

			preview_high_speed_fps_int_cam = <DVFS_INT_CAM_L4>;
			preview_high_speed_fps_cam = <DVFS_CAM_L2>;		/* VOTF */
			preview_high_speed_fps_csis = <DVFS_CSIS_L2>;	/* VOTF */
			preview_high_speed_fps_mif = <DVFS_MIF_L4>;
			preview_high_speed_fps_int = <DVFS_INT_L3>;
			preview_high_speed_fps_hpg = <1>;

			video_high_speed_60fps_int_cam = <DVFS_INT_CAM_L5>;
			video_high_speed_60fps_cam = <DVFS_CAM_L2>;		/* VOTF */
			video_high_speed_60fps_csis = <DVFS_CSIS_L2>;	/* VOTF */
			video_high_speed_60fps_mif = <DVFS_MIF_L6>;
			video_high_speed_60fps_int = <DVFS_INT_L3>;
			video_high_speed_60fps_hpg = <1>;

			video_high_speed_120fps_int_cam = <DVFS_INT_CAM_L5>;
			video_high_speed_120fps_cam = <DVFS_CAM_L2>;	/* VOTF */
			video_high_speed_120fps_csis = <DVFS_CSIS_L2>;	/* VOTF */
			video_high_speed_120fps_mif = <DVFS_MIF_L4>;
			video_high_speed_120fps_int = <DVFS_INT_L3>;
			video_high_speed_120fps_hpg = <1>;

			video_high_speed_240fps_int_cam = <DVFS_INT_CAM_L4>;
			video_high_speed_240fps_cam = <DVFS_CAM_L2>;	/* VOTF */
			video_high_speed_240fps_csis = <DVFS_CSIS_L2>;	/* VOTF */
			video_high_speed_240fps_mif = <DVFS_MIF_L4>;
			video_high_speed_240fps_int = <DVFS_INT_L2>;
			video_high_speed_240fps_hpg = <1>;

			video_high_speed_480fps_int_cam = <DVFS_INT_CAM_L4>;
			video_high_speed_480fps_cam = <DVFS_CAM_L2>;	/* VOTF */
			video_high_speed_480fps_csis = <DVFS_CSIS_L2>;	/* VOTF */
			video_high_speed_480fps_mif = <DVFS_MIF_L4>;
			video_high_speed_480fps_int = <DVFS_INT_L1>;
			video_high_speed_480fps_hpg = <1>;

			video_high_speed_960fps_int_cam = <DVFS_INT_CAM_L4>;
			video_high_speed_960fps_cam = <DVFS_CAM_L2>;	/* VOTF */
			video_high_speed_960fps_csis = <DVFS_CSIS_L2>;	/* VOTF */
			video_high_speed_960fps_mif = <DVFS_MIF_L4>;
			video_high_speed_960fps_int = <DVFS_INT_L1>;
			video_high_speed_960fps_hpg = <1>;

			video_high_speed_dualfps_int_cam = <DVFS_INT_CAM_L4>;
			video_high_speed_dualfps_cam = <DVFS_CAM_L2>;	/* VOTF */
			video_high_speed_dualfps_csis = <DVFS_CSIS_L2>;	/* VOTF */
			video_high_speed_dualfps_mif = <DVFS_MIF_L4>;
			video_high_speed_dualfps_int = <DVFS_INT_L1>;
			video_high_speed_dualfps_hpg = <6>;

			video_high_speed_60fps_capture_int_cam = <DVFS_INT_CAM_L3>;
			video_high_speed_60fps_capture_cam = <DVFS_CAM_L2>;	/* VOTF */
			video_high_speed_60fps_capture_csis = <DVFS_CSIS_L2>;	/* VOTF */
			video_high_speed_60fps_capture_mif = <DVFS_MIF_L1>;
			video_high_speed_60fps_capture_int = <DVFS_INT_L0>;
			video_high_speed_60fps_capture_hpg = <1>;

			ext_rear_int_cam = <DVFS_INT_CAM_L5>;
			ext_rear_cam = <DVFS_CAM_L5>;
			ext_rear_csis = <DVFS_CSIS_L5>;
			ext_rear_mif = <DVFS_MIF_L8>;
			ext_rear_int = <DVFS_INT_L3>;
			ext_rear_hpg = <1>;

			ext_secure_int_cam = <DVFS_INT_CAM_L5>;
			ext_secure_cam = <DVFS_CAM_L5>;
			ext_secure_csis = <DVFS_CSIS_L5>;
			ext_secure_mif = <DVFS_MIF_L8>;
			ext_secure_int = <DVFS_INT_L3>;
			ext_secure_hpg = <1>;

			max_int_cam = <DVFS_INT_CAM_L0>;
			max_cam = <DVFS_CAM_L0>;
			max_csis = <DVFS_CSIS_L0>;
			max_mif = <DVFS_MIF_L0>;
			max_int = <DVFS_INT_L0>;
			max_hpg = <1>;
		};
	};
};

&pinctrl_5 {
	/* PERIC0 USI15 REAR sub */
	/* No pull-up resistor, use internal one */
	hsi2c30_bus: hsi2c30-bus {
		samsung,pins = "gpp15-0", "gpp15-1";
		samsung,pin-function = <2>;
		samsung,pin-pud = <3>;
		samsung,pin-drv = <0>;
	};

	hsi2c30_bus_in: hsi2c30-bus-in {
		samsung,pins = "gpp15-0", "gpp15-1";
		samsung,pin-function = <0>;
		samsung,pin-pud = <0>;
		samsung,pin-drv = <0>;
	};

	/* PERIC0 USI15_I2C REAR main */
	hsi2c31_bus: hsi2c31-bus {
		samsung,pins = "gpp15-2", "gpp15-3";
		samsung,pin-function = <3>;
		samsung,pin-pud = <3>;
		samsung,pin-drv = <0>;
	};

	hsi2c31_bus_in: hsi2c31-bus-in {
		samsung,pins = "gpp15-2", "gpp15-3";
		samsung,pin-function = <0>;
		samsung,pin-pud = <0>;
		samsung,pin-drv = <0>;
	};
};

&pinctrl_6 {
	/* PERIC1 USI17_I2C front VT0 */
	/* No pull-up resistor, use internal one */
	hsi2c35_bus: hsi2c35-bus {
		samsung,pins = "gpp17-2", "gpp17-3";
		samsung,pin-function = <3>;
		samsung,pin-pud = <3>;
		samsung,pin-drv = <0>;
	};

	hsi2c35_bus_in: hsi2c35-bus-in {
		samsung,pins = "gpp17-2", "gpp17-3";
		samsung,pin-function = <0>;
		samsung,pin-pud = <0>;
		samsung,pin-drv = <0>;
	};
};

/* PERIC0 USI15_I2C REAR main */
&hsi2c_31 {
	#address-cells = <1>;
	#size-cells = <0>;
	gpios = <&gpp15 2 0 &gpp15 3 0>;
	status = "okay";
	samsung,fast-plus-mode;
	clock-frequency = <1000000>;

	pinctrl-names = "default","on_i2c","off_i2c";
	pinctrl-0 = <&hsi2c31_bus_in>;
	pinctrl-1 = <&hsi2c31_bus>;
	pinctrl-2 = <&hsi2c31_bus_in>;

	is-gm1sp@2D {
		compatible = "samsung,exynos-is-cis-gm1sp";
		reg = <0x2D>;
		id = <0>; /* matching sensor id */
		setfile = "setB";
	};

	is-actuator@72 {
		compatible = "samsung,exynos-is-actuator-dw9839";
		reg = <0x0C>;
		id = <0>; /* matching is_sensor id */
		place = <0>;
	};
};

/* PERIC0 USI15 REAR sub */
&hsi2c_30 {
	#address-cells = <1>;
	#size-cells = <0>;
	gpios = <&gpp15 0 0 &gpp15 1 0>;
	status = "okay";
	samsung,fast-plus-mode;
	clock-frequency = <1000000>;

	pinctrl-names = "default","on_i2c","off_i2c";
	pinctrl-0 = <&hsi2c30_bus_in>;
	pinctrl-1 = <&hsi2c30_bus>;
	pinctrl-2 = <&hsi2c30_bus_in>;

	is-5e9@10 {
		compatible = "samsung,exynos-is-cis-5e9";
		reg = <0x10>;
		id = <2>; /* matching sensor id */
		setfile = "setB";
	};
};

/* PERIC1 USI17_I2C front VT0  */
&hsi2c_35 {
	#address-cells = <1>;
	#size-cells = <0>;
	gpios = <&gpp17 2 0 &gpp17 3 0>;
	status = "okay";
	clock-frequency = <400000>;

	pinctrl-names = "default","on_i2c","off_i2c";
	pinctrl-0 = <&hsi2c35_bus_in>;
	pinctrl-1 = <&hsi2c35_bus>;
	pinctrl-2 = <&hsi2c35_bus_in>;

	is-4h5yc@36 {
		compatible = "samsung,exynos-is-cis-4h5yc";
		reg = <0x36>;
		id = <1>; /* matching sensor id */
		setfile = "setB";
	};
};

&is_sensor0 {
	#address-cells = <1>;
	#size-cells = <1>;
	scenario = <SENSOR_SCENARIO_NORMAL>;	/* Normal, Vision, OIS etc */
	id = <0>;
	csi_ch = <0>;
	dma_ch = <0 0 0 0>;
	vc_ch = <0 1 2 3>;
	flite_ch = <FLITE_ID_NOTHING>;
	is_bns = <0>;
	status = "okay";
};

&is_sensor1 {
	#address-cells = <1>;
	#size-cells = <1>;
	reg = <0x0 0x17050000 0x1000>, /* MIPI-CSI2 */
		<0x0 0x170D0000 0x10000>; /* PHY: M0S4S4S4S4S4S2 */
	phys = <&mipi_phy_csis2_m0s4s4s4s4s4s2 0>;
	scenario = <SENSOR_SCENARIO_NORMAL>;    /* Normal, Vision, OIS etc */
	id = <1>;
	csi_ch = <2>;
	dma_ch = <1 1 1 1>;
	vc_ch = <0 1 2 3>;
	flite_ch = <FLITE_ID_NOTHING>;
	is_bns = <0>;
	status = "okay";

	interrupts = <0 INTREQ__CSIS2 IRQ_TYPE_LEVEL_HIGH>, /* MIPI-CSI2 */
		<0 INTREQ__CSIS_DMA1 IRQ_TYPE_LEVEL_HIGH>,
		<0 INTREQ__CSIS_DMA1 IRQ_TYPE_LEVEL_HIGH>,
		<0 INTREQ__CSIS_DMA1 IRQ_TYPE_LEVEL_HIGH>,
		<0 INTREQ__CSIS_DMA1 IRQ_TYPE_LEVEL_HIGH>;

	/* without PAF HW */
	sensor1_ch_mode0: sensor1-ch-mode0 {
		reg = <0x17098000 0x100>, /* DMA1 VC0 */
			<0x17098400 0x100>, /* DMA1 Common */
			<0x17098100 0x100>, /* DMA1 VC1 */
			<0x17098400 0x100>, /* DMA1 Common */
			<0x17098200 0x100>, /* DMA1 VC2 */
			<0x17098400 0x100>, /* DMA1 Common */
			<0x17098300 0x100>, /* DMA1 VC3 */
			<0x17098400 0x100>; /* DMA1 Common */
		mux_reg = <0x17020424 0x4>; /* DMA1 input mux */
	};
};

&is_sensor2 {
	#address-cells = <1>;
	#size-cells = <1>;
	reg = <0x0 0x17040000 0x1000>, /* MIPI-CSI1 */
		<0x0 0x170D0000 0x10000>; /* PHY: M0S4S4S4S4S4S2 */
	phys = <&mipi_phy_csis1_m0s4s4s4s4s4s2 0>;
	scenario = <SENSOR_SCENARIO_NORMAL>;    /* Normal, Vision, OIS etc */
	id = <2>;
	csi_ch = <1>;
	dma_ch = <2 2 2 2>;
	vc_ch = <0 1 2 3>;
	flite_ch = <FLITE_ID_NOTHING>;
	is_bns = <0>;
	status = "okay";

	interrupts = <0 INTREQ__CSIS1 IRQ_TYPE_LEVEL_HIGH>, /* MIPI-CSI1 */
		<0 INTREQ__CSIS_DMA2 IRQ_TYPE_LEVEL_HIGH>,
		<0 INTREQ__CSIS_DMA2 IRQ_TYPE_LEVEL_HIGH>,
		<0 INTREQ__CSIS_DMA2 IRQ_TYPE_LEVEL_HIGH>,
		<0 INTREQ__CSIS_DMA2 IRQ_TYPE_LEVEL_HIGH>;

	/* without PAF HW */
	sensor2_ch_mode0: sensor2-ch-mode0 {
		reg = <0x17099000 0x100>, /* DMA2 VC0 */
			<0x17099400 0x100>, /* DMA2 Common */
			<0x17099100 0x100>, /* DMA2 VC1 */
			<0x17099400 0x100>, /* DMA2 Common */
			<0x17099200 0x100>, /* DMA2 VC2 */
			<0x17099400 0x100>, /* DMA2 Common */
			<0x17099300 0x100>, /* DMA2 VC3 */
			<0x17099400 0x100>; /* DMA2 Common */
		mux_reg = <0x17020428 0x4>; /* DMA2 input mux */
	};
};

&is_sensor3 {
	#address-cells = <1>;
	#size-cells = <1>;
	scenario = <SENSOR_SCENARIO_NORMAL>;    /* Normal, Vision, OIS etc */
	id = <3>;
	csi_ch = <4>;
	dma_ch = <3 3 3 3>;
	vc_ch = <0 1 2 3>;
	flite_ch = <FLITE_ID_NOTHING>;
	is_bns = <0>;
	status = "disabled";
};

&is_sensor4 {
	#address-cells = <1>;
	#size-cells = <1>;
	scenario = <SENSOR_SCENARIO_NORMAL>;    /* Normal, Vision, OIS etc */
	id = <4>;
	csi_ch = <1>;
	dma_ch = <1 1 1 1>;
	vc_ch = <0 1 2 3>;
	flite_ch = <FLITE_ID_NOTHING>;
	is_bns = <0>;
	status = "disabled";
};

&is_sensor5 {
	#address-cells = <1>;
	#size-cells = <1>;
	scenario = <SENSOR_SCENARIO_NORMAL>;    /* Normal, Vision, OIS etc */
	id = <1>;
	csi_ch = <1>;
	dma_ch = <1 1 1 1>;
	vc_ch = <0 1 2 3>;
	flite_ch = <FLITE_ID_NOTHING>;
	is_bns = <0>;
	status = "disabled";
};
